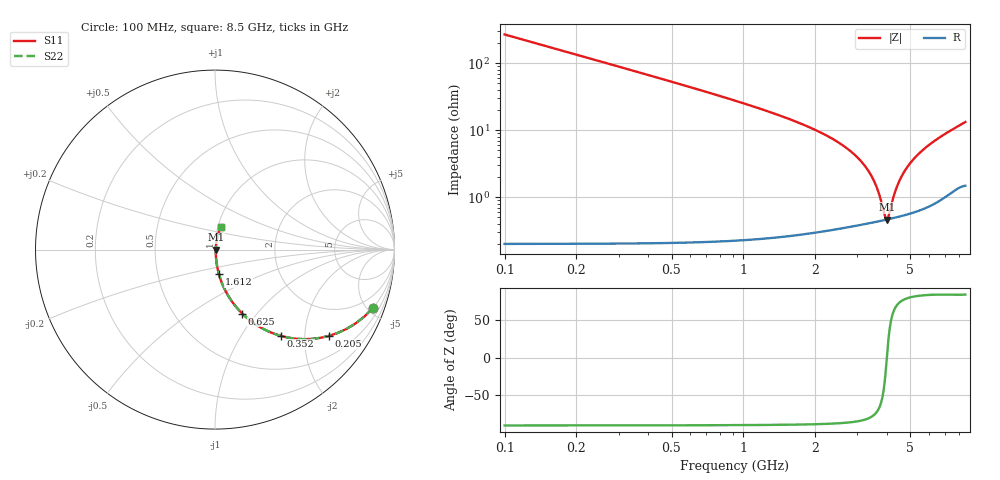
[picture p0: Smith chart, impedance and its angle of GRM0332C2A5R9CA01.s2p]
!Murata Part Number: GRM0332C2A5R9CA01
!These Parameters are Measured in Series Mode Connection
!Data Generated on Mar 30, 2021
!  o--ll--o
!Port1  Port2
!  o------o
!Operation Temp=25[degC], DC Bias Voltage=0[V]
!Freq. Start=100[MHz] Stop=9[GHz] 401[Steps]
# Hz S RI R 50
!Freq.(Hz) S11(Real) S11(Imag) S21(Real) S21(Imag) S12(Real) S12(Imag) S22(Real) S22(Imag)
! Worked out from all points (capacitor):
!   401 points, 100 MHz to 8.5 GHz, reference 50 ohm
!   read as one part in series: C = 5.9 pF near 142 MHz
!   lowest |Z| = 463 mohm at 3.985 GHz (marker M1)
!   series resonance near 3.986 GHz, so ESL is about 270 pH
!   S11 on the Smith chart (normalised r, x): 100 MHz: 1.00, -5.39; 205 MHz: 1.00, -2.62; 352 MHz: 1.00, -1.52; 625 MHz: 1.00, -0.84; 1.612 GHz: 1.01, -0.28; 8.5 GHz: 1.03, +0.26
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1e8  0.8789 -0.3259  0.1211 0.3259  0.1211 0.3259  0.8789 -0.3259
2.05e8  0.6325 -0.4814  0.3675 0.4814  0.3675 0.4814  0.6325 -0.4814
3.52e8  0.3667 -0.4806  0.6333 0.4806  0.6333 0.4806  0.3667 -0.4806
4.78e8  0.2371 -0.4234  0.7629 0.4234  0.7629 0.4234  0.2371 -0.4234
6.25e8  0.1518 -0.3563  0.8482 0.3563  0.8482 0.3563  0.1518 -0.3563
9.61e8  0.0671 -0.246  0.9329 0.246  0.9329 0.246  0.0671 -0.246
1.507e9  0.0254 -0.1491  0.9746 0.1491  0.9746 0.1491  0.0254 -0.1491
1.612e9  0.0217 -0.1366  0.9783 0.1366  0.9783 0.1366  0.0217 -0.1366
2.914e9  0.00553 -0.0429  0.9945 0.0429  0.9945 0.0429  0.00553 -0.0429
3.25e9  0.00474 -0.0278  0.9953 0.0278  0.9953 0.0278  0.00474 -0.0278
3.502e9  0.00449 -0.0176  0.9955 0.0176  0.9955 0.0176  0.00449 -0.0176
3.691e9  0.00446 -0.0104  0.9955 0.0104  0.9955 0.0104  0.00446 -0.0104
3.922e9  0.00456 -0.0022  0.9954 0.0022  0.9954 0.0022  0.00456 -0.0022
3.985e9  0.00461 -3.75e-05  0.9954 3.75e-05  0.9954 3.75e-05  0.00461 -3.75e-05
4.048e9  0.00467 0.0021  0.9953 -0.0021  0.9953 -0.0021  0.00467 0.0021
4.3e9  0.00502 0.0104  0.995 -0.0104  0.995 -0.0104  0.00502 0.0104
4.531e9  0.00545 0.0176  0.9945 -0.0176  0.9945 -0.0176  0.00545 0.0176
4.825e9  0.00616 0.0264  0.9938 -0.0264  0.9938 -0.0264  0.00616 0.0264
5.224e9  0.0074 0.0379  0.9926 -0.0379  0.9926 -0.0379  0.0074 0.0379
5.707e9  0.00933 0.0513  0.9907 -0.0513  0.9907 -0.0513  0.00933 0.0513
7.114e9  0.0183 0.0885  0.9817 -0.0885  0.9817 -0.0885  0.0183 0.0885
8.5e9  0.031 0.1262  0.969 -0.1262  0.969 -0.1262  0.031 0.1262
